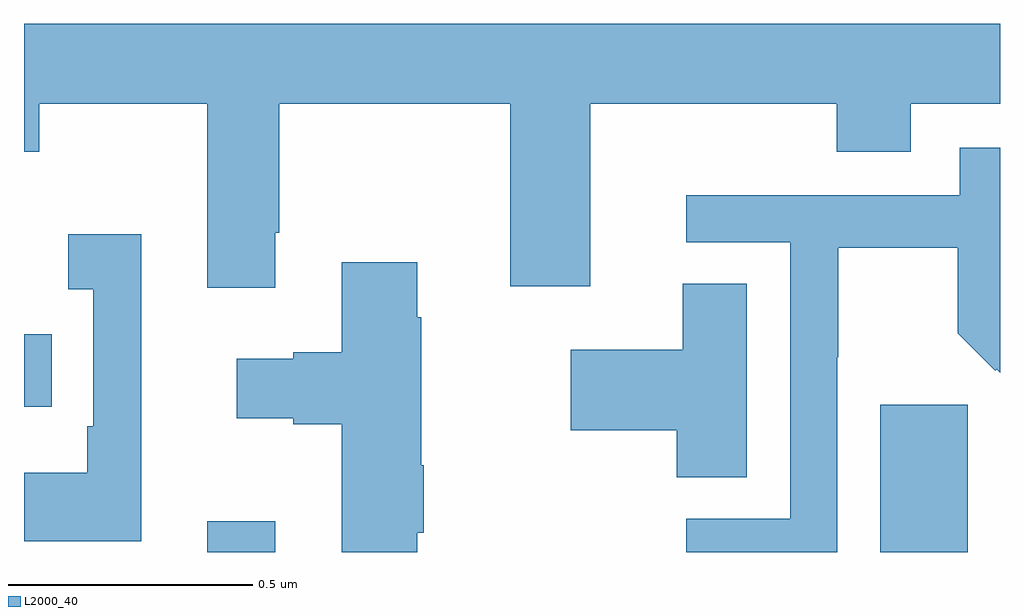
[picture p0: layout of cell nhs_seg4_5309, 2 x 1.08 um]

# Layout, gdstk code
import gdstk
lib = gdstk.Library(unit=1e-6, precision=1e-09)
def R(c, l, rs):  # rectangles x0, y0, x1, y1
    for r in rs: c.add(gdstk.rectangle(r[:2], r[2:], *l))
def P(c, l, *ps):  # polygons
    for p in ps: c.add(gdstk.Polygon(p, *l))
L2000_40 = (2000, 40)

nhs_seg4_5309 = lib.new_cell('nhs_seg4_5309')
R(nhs_seg4_5309, L2000_40, [(176.375,795.9,176.515,795.964), (177.755,795.9,177.934,796.203), (176,796.199,176.057,796.347)])
P(nhs_seg4_5309, L2000_40, [(176.515,796.555),(176.523,796.555),(176.523,796.82),(176.996,796.82),(176.996,796.446),(177.16,796.446),(177.16,796.82),(177.665,796.82),(177.665,796.721),(177.817,796.721),(177.817,796.82),(178,796.82),(178,796.984),(176,796.984),(176,796.721),(176.031,796.721),(176.031,796.82),(176.375,796.82),(176.375,796.443),(176.515,796.443)],
  [(177.666,796.3),(177.669,796.3),(177.669,796.524),(177.913,796.524),(177.913,796.349),(177.99,796.272),(177.993,796.275),(178,796.268),(178,796.729),(177.918,796.729),(177.918,796.632),(177.357,796.632),(177.357,796.536),(177.57,796.536),(177.57,795.969),(177.357,795.969),(177.357,795.9),(177.666,795.9)],
  [(176.24,796.552),(176.091,796.552),(176.091,796.439),(176.142,796.439),(176.142,796.159),(176.13,796.159),(176.13,796.063),(176,796.063),(176,795.923),(176.24,795.923)],
  [(176.806,795.94),(176.819,795.94),(176.819,796.079),(176.814,796.079),(176.814,796.382),(176.806,796.382),(176.806,796.495),(176.651,796.495),(176.651,796.31),(176.552,796.31),(176.552,796.297),(176.436,796.297),(176.436,796.175),(176.552,796.175),(176.552,796.163),(176.651,796.163),(176.651,795.9),(176.806,795.9)],
  [(177.481,796.451),(177.35,796.451),(177.35,796.315),(177.12,796.315),(177.12,796.15),(177.338,796.15),(177.338,796.054),(177.481,796.054)])

lib.write_gds('nhs_seg4_5309.gds')
